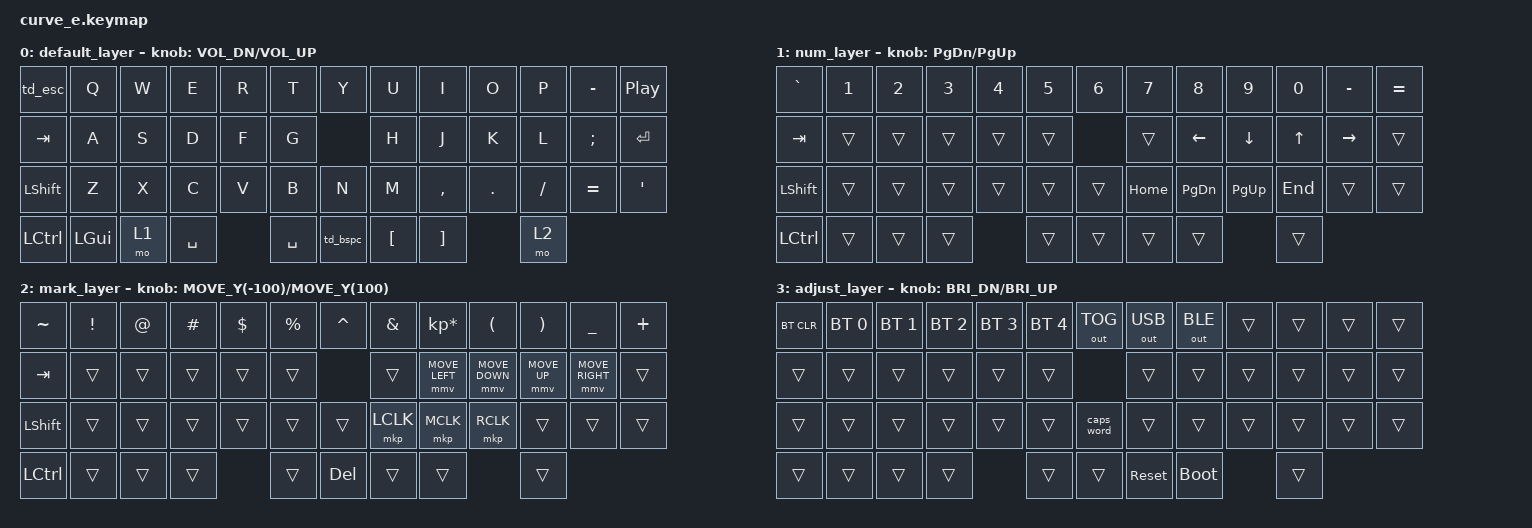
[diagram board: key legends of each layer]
/*
 * Copyright (c) 2021 The ZMK Contributors
 *
 * SPDX-License-Identifier: MIT
 */

#include <behaviors.dtsi>
#include <dt-bindings/zmk/keys.h>
#include <dt-bindings/zmk/bt.h>
#include <dt-bindings/zmk/outputs.h>
#include <dt-bindings/zmk/ext_power.h>
#include <dt-bindings/zmk/pointing.h>

/ {
	behaviors {
		inc_dec_msc: sensor_rotate_scroll {
			compatible = "zmk,behavior-sensor-rotate-var";
			#sensor-binding-cells = <2>;
			/* Keep scroll held beyond the 16 ms mouse input tick. */
			tap-ms = <20>;
			bindings = <&msc>, <&msc>;
		};

		td_esc: tap_dance_esc_grave {
			compatible = "zmk,behavior-tap-dance";
			#binding-cells = <0>;
			tapping-term-ms = <200>;
			bindings = <&kp ESC>, <&kp GRAVE>;
		};

		td_bspc: tap_dance_bspc_del {
			compatible = "zmk,behavior-tap-dance";
			#binding-cells = <0>;
			tapping-term-ms = <200>;
			bindings = <&kp BSPC>, <&kp DEL>;
		};
	};

	combos {
		compatible = "zmk,combos";
		combo_esc {
			timeout-ms = <50>;
			layers = <0>;
			key-positions = <1 2>; /* Q + W */
			bindings = <&kp ESC>;
		};
		combo_tab {
			timeout-ms = <50>;
			layers = <0>;
			key-positions = <14 15>; /* A + S */
			bindings = <&kp TAB>;
		};
		combo_bspc {
			timeout-ms = <50>;
			layers = <0>;
			key-positions = <9 10>; /* O + P */
			bindings = <&kp BSPC>;
		};
		combo_enter {
			timeout-ms = <50>;
			layers = <0>;
			key-positions = <21 22>; /* K + L */
			bindings = <&kp ENTER>;
		};
		combo_caps {
			timeout-ms = <50>;
			layers = <0>;
			key-positions = <29 30>; /* V + B */
			bindings = <&caps_word>;
		};
		combo_out_tog {
			timeout-ms = <50>;
			layers = <0>;
			key-positions = <26 27>; /* Z + X: Toggle USB / Bluetooth */
			bindings = <&out OUT_TOG>;
		};
	};

	conditional_layers {
		compatible = "zmk,conditional-layers";
		tri_layer {
			if-layers = <1 2>;
			then-layer = <3>;
		};
	};

	keymap {
		compatible = "zmk,keymap";

		/* Layer 0: Base Typing */
		default_layer {
			bindings = <
				&td_esc		&kp Q    &kp W    &kp E    &kp R     &kp T       &kp Y     &kp U  &kp I  &kp O  	  &kp P     &kp MINUS   &kp C_PP
			    &kp TAB     &kp A    &kp S    &kp D    &kp F     &kp G       &kp H     &kp J  &kp K  &kp L     &kp SEMI   	       &kp ENTER
			    &kp LSHIFT  &kp Z    &kp X 	  &kp C    &kp V     &kp B       &kp N     &kp M  &kp COMMA &kp PERIOD &kp SLASH &kp EQUAL &kp SQT
			    &kp LCTRL   	&kp LGUI &mo 1    &kp SPACE    &kp SPACE   &td_bspc  &kp LBKT  &kp RBKT         &mo 2
			>;
			sensor-bindings = <&inc_dec_kp C_VOL_DN C_VOL_UP>;
		};

		/* Layer 1: Numbers & Navigation */
		num_layer {
			bindings = <
				&kp GRAVE	&kp N1   &kp N2   &kp N3   &kp N4    &kp N5      &kp N6   &kp N7    &kp N8    &kp N9    &kp N0     &kp MINUS &kp EQUAL
			    &kp TAB     &trans   &trans   &trans   &trans    &trans      &trans   &kp LEFT  &kp DOWN  &kp UP    &kp RIGHT  	       &trans
			    &kp LSHIFT  &trans   &trans   &trans   &trans    &trans      &trans   &kp HOME  &kp PG_DN &kp PG_UP &kp END    &trans	   &trans
			    &kp LCTRL   		          &trans   &trans    &trans      &trans   &trans    &trans    &trans    &trans
			>;
			sensor-bindings = <&inc_dec_kp PG_DN PG_UP>;
		};

		/* Layer 2: Symbols & Mouse / Pointer Emulation */
		mark_layer {
			bindings = <
				&kp TILDE	&kp EXCL &kp AT   &kp HASH  &kp DLLR  &kp PRCNT   &kp CARET &kp AMPS  &kp KP_MULTIPLY &kp LPAR  &kp RPAR  &kp UNDER &kp PLUS
			    &kp TAB     &trans   &trans   &trans    &trans    &trans      &trans    &mmv MOVE_LEFT &mmv MOVE_DOWN &mmv MOVE_UP &mmv MOVE_RIGHT &trans
			    &kp LSHIFT  &trans   &trans   &trans    &trans    &trans      &trans    &mkp LCLK &mkp MCLK       &mkp RCLK &trans    &trans	  &trans
			    &kp LCTRL   		          &trans    &trans    &trans      &trans    &kp DEL   &trans          &trans    &trans
			>;
			sensor-bindings = <&inc_dec_msc MOVE_Y(-100) MOVE_Y(100)>;
		};

		/* Layer 3: System & Bluetooth Management (Triggered by Layer 1 + Layer 2) */
		adjust_layer {
			bindings = <
				&bt BT_CLR 	  &bt BT_SEL 0 &bt BT_SEL 1 &bt BT_SEL 2 &bt BT_SEL 3 &bt BT_SEL 4 &out OUT_TOG &out OUT_USB &out OUT_BLE &trans &trans &trans &trans
				&trans        &trans       &trans       &trans       &trans       &trans       &trans       &trans       &trans       &trans &trans        &trans
				&trans        &trans       &trans       &trans       &trans       &trans       &caps_word   &trans       &trans       &trans &trans &trans &trans
			    &trans 		               &trans       &trans       &trans       &trans       &trans       &sys_reset   &bootloader  &trans
			>;
			sensor-bindings = <&inc_dec_kp C_BRI_DN C_BRI_UP>;
		};
	};
};
